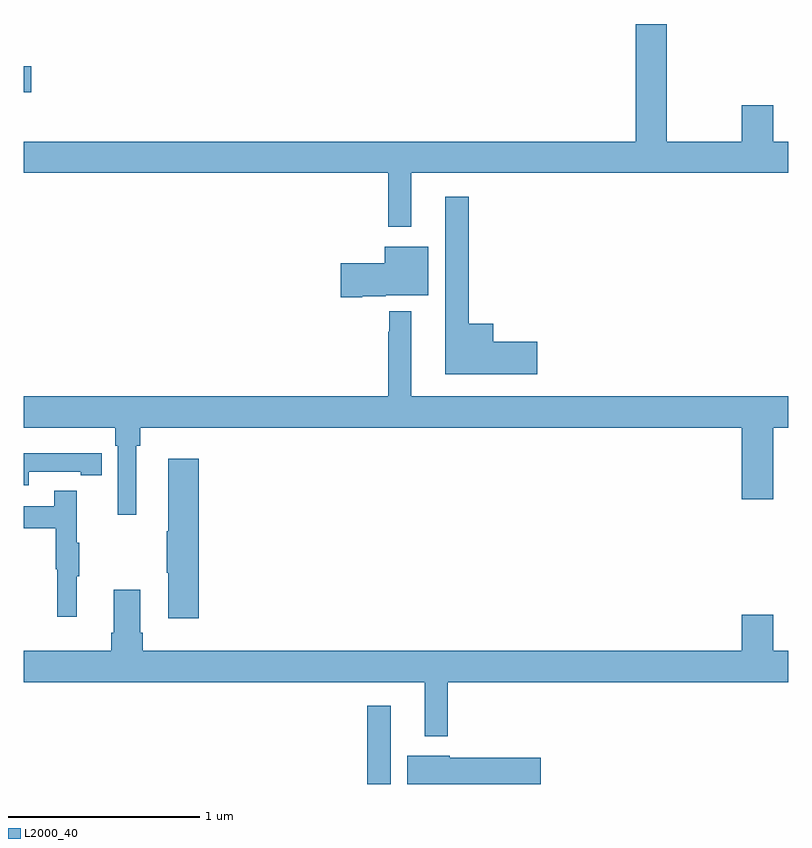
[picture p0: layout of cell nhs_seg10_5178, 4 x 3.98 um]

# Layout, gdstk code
import gdstk
lib = gdstk.Library(unit=1e-6, precision=1e-09)
def R(c, l, rs):  # rectangles x0, y0, x1, y1
    for r in rs: c.add(gdstk.rectangle(r[:2], r[2:], *l))
def P(c, l, *ps):  # polygons
    for p in ps: c.add(gdstk.Polygon(p, *l))
L2000_40 = (2000, 40)

nhs_seg10_5178 = lib.new_cell('nhs_seg10_5178')
R(nhs_seg10_5178, L2000_40, [(414.798,1250.5,414.919,1250.908), (413,1254.119,413.041,1254.254)])
P(nhs_seg10_5178, L2000_40, [(415.027,1253.696),(417,1253.696),(417,1253.86),(416.92,1253.86),(416.92,1254.049),(416.756,1254.049),(416.756,1253.86),(416.365,1253.86),(416.365,1254.475),(416.201,1254.475),(416.201,1253.86),(413,1253.86),(413,1253.696),(414.906,1253.696),(414.906,1253.415),(415.027,1253.415)],
  [(415.687,1252.814),(415.456,1252.814),(415.456,1252.906),(415.327,1252.906),(415.327,1253.572),(415.205,1253.572),(415.205,1252.643),(415.687,1252.643)],
  [(414.772,1253.051),(414.894,1253.051),(414.894,1253.057),(415.117,1253.057),(415.117,1253.311),(414.89,1253.311),(414.89,1253.223),(414.66,1253.223),(414.66,1253.045),(414.772,1253.045)],
  [(413.59,1252.268),(413.609,1252.268),(413.609,1252.364),(416.756,1252.364),(416.756,1251.99),(416.92,1251.99),(416.92,1252.364),(417,1252.364),(417,1252.528),(415.027,1252.528),(415.027,1252.972),(414.913,1252.972),(414.913,1252.865),(414.906,1252.865),(414.906,1252.528),(413,1252.528),(413,1252.364),(413.48,1252.364),(413.48,1252.268),(413.493,1252.268),(413.493,1251.909),(413.59,1251.909)],
  [(413.028,1252.134),(413.3,1252.134),(413.3,1252.114),(413.408,1252.114),(413.408,1252.23),(413.3,1252.23),(413.3,1252.231),(413,1252.231),(413,1252.062),(413.028,1252.062)],
  [(413.915,1252.201),(413.756,1252.201),(413.756,1251.821),(413.749,1251.821),(413.749,1251.604),(413.756,1251.604),(413.756,1251.366),(413.915,1251.366)],
  [(413.279,1251.587),(413.29,1251.587),(413.29,1251.761),(413.279,1251.761),(413.279,1252.033),(413.161,1252.033),(413.161,1251.954),(413,1251.954),(413,1251.838),(413.169,1251.838),(413.169,1251.624),(413.176,1251.624),(413.176,1251.375),(413.279,1251.375)],
  [(415.219,1251.032),(417,1251.032),(417,1251.196),(416.92,1251.196),(416.92,1251.385),(416.756,1251.385),(416.756,1251.196),(413.624,1251.196),(413.624,1251.292),(413.611,1251.292),(413.611,1251.517),(413.471,1251.517),(413.471,1251.292),(413.459,1251.292),(413.459,1251.196),(413,1251.196),(413,1251.032),(415.097,1251.032),(415.097,1250.751),(415.219,1250.751)],
  [(415.705,1250.637),(415.23,1250.637),(415.23,1250.647),(415.007,1250.647),(415.007,1250.5),(415.705,1250.5)])

lib.write_gds('nhs_seg10_5178.gds')
